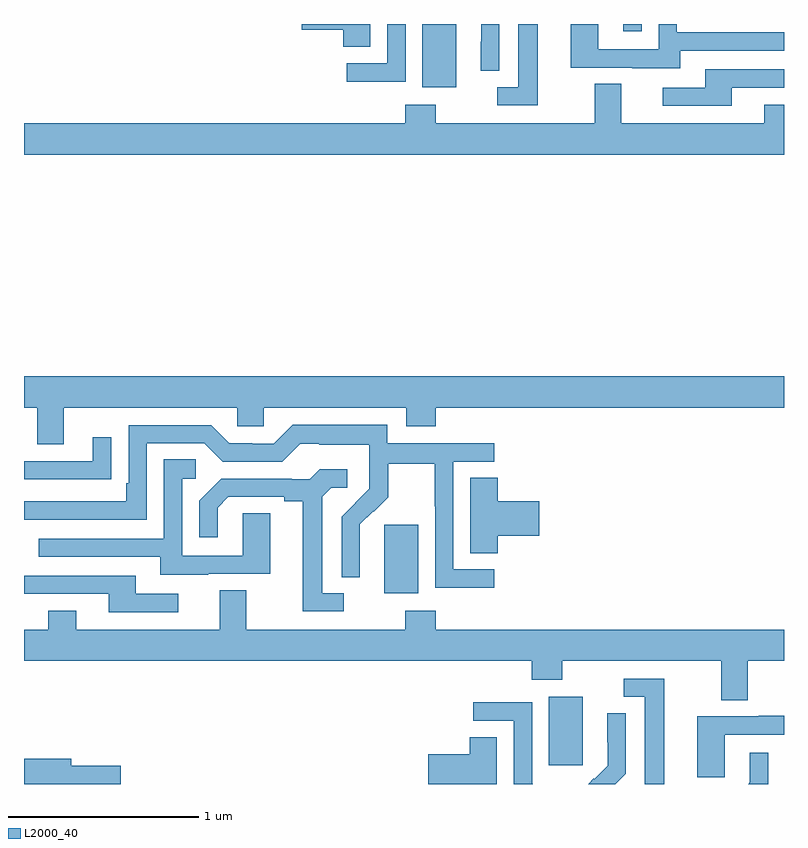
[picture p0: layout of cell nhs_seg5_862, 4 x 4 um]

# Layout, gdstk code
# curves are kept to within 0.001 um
import gdstk
lib = gdstk.Library(unit=1e-6, precision=1e-09)
def R(c, l, rs):  # rectangles x0, y0, x1, y1
    for r in rs: c.add(gdstk.rectangle(r[:2], r[2:], *l))
def P(c, l, *ps):  # polygons
    for p in ps: c.add(gdstk.Polygon(p, *l))
L2000_40 = (2000, 40)

nhs_seg5_862 = lib.new_cell('nhs_seg5_862')
R(nhs_seg5_862, L2000_40, [(169.763,834.897,169.942,835.258), (168.896,835.802,169.075,836.163), (169.097,838.466,169.276,838.799), (170.153,838.761,170.25,838.799)])
P(nhs_seg5_862, L2000_40, [(169.5,838.799),(169.406,838.799),(169.406,838.706),(169.404,838.706),(169.404,838.552),(169.5,838.552)],
  [(169.008,838.799),(168.912,838.799),(168.912,838.593),(168.699,838.593),(168.699,838.495),(169.008,838.495)],
  [(169.705,838.799),(169.601,838.799),(169.601,838.467),(169.491,838.467),(169.491,838.371),(169.705,838.371)],
  [(170.455,838.659),(171,838.659),(171,838.755),(170.436,838.755),(170.436,838.799),(170.34,838.799),(170.34,838.665),(170.022,838.665),(170.022,838.799),(169.877,838.799),(169.877,838.569),(170.201,838.569),(170.201,838.565),(170.455,838.565)],
  [(168.823,838.799),(168.462,838.799),(168.462,838.769),(168.68,838.769),(168.68,838.678),(168.823,838.678)],
  [(170.725,838.464),(171,838.464),(171,838.56),(170.585,838.56),(170.585,838.464),(170.361,838.464),(170.361,838.368),(170.725,838.368)],
  [(171,838.375),(170.897,838.375),(170.897,838.276),(170.143,838.276),(170.143,838.484),(170.003,838.484),(170.003,838.276),(169.167,838.276),(169.167,838.375),(169.007,838.375),(169.007,838.276),(167,838.276),(167,838.112),(171,838.112)],
  [(167.209,836.78),(168.123,836.78),(168.123,836.682),(168.261,836.682),(168.261,836.78),(169.013,836.78),(169.013,836.681),(169.166,836.681),(169.166,836.78),(171,836.78),(171,836.944),(167,836.944),(167,836.78),(167.069,836.78),(167.069,836.586),(167.209,836.586)],
  [(169.474,835.929),(169.26,835.929),(169.26,836.496),(169.474,836.496),(169.474,836.592),(168.912,836.592),(168.912,836.689),(168.415,836.689),(168.315,836.589),(168.2,836.589),(168.2,836.592),(168.081,836.592),(167.985,836.688),(167.55,836.688),(167.55,836.383),(167.537,836.383),(167.537,836.286),(167,836.286),(167,836.19),(167.646,836.19),(167.646,836.592),(167.949,836.592),(168.045,836.496),(168.36,836.496),(168.453,836.589),(168.553,836.589),(168.553,836.585),(168.816,836.585),(168.816,836.451),(168.818,836.451),(168.818,836.354),(168.672,836.206),(168.672,835.888),(168.768,835.888),(168.767,836.165),(168.837,836.235),(168.84,836.232),(168.917,836.309),(168.917,836.484),(169.162,836.484),(169.162,836.26),(169.164,836.26),(169.164,835.831),(169.474,835.831)],
  [(167.357,836.404),(167.459,836.404),(167.459,836.623),(167.363,836.623),(167.363,836.499),(167,836.499),(167,836.403),(167.357,836.403)],
  [(167.971,835.905),(168.295,835.905),(168.295,836.225),(168.15,836.225),(168.15,836.001),(167.832,836.001),(167.832,836.406),(167.905,836.406),(167.905,836.507),(167.736,836.507),(167.736,836.091),(167.077,836.091),(167.077,835.995),(167.717,835.995),(167.717,835.901),(167.971,835.901)],
  [(168.682,835.803),(168.571,835.803),(168.571,836.311),(168.618,836.358),(168.7,836.358),(168.7,836.455),(168.556,836.455),(168.504,836.403),(168.41,836.403),(168.41,836.406),(168.038,836.406),(167.922,836.29),(167.922,836.097),(168.019,836.097),(168.019,836.253),(168.076,836.31),(168.371,836.31),(168.371,836.288),(168.467,836.288),(168.467,835.707),(168.682,835.707)],
  [(169.493,836.105),(169.711,836.105),(169.711,836.288),(169.493,836.288),(169.493,836.411),(169.349,836.411),(169.349,836.014),(169.493,836.014)],
  [(167.812,835.8),(167.587,835.8),(167.587,835.896),(167,835.896),(167,835.8),(167.447,835.8),(167.447,835.704),(167.812,835.704)],
  [(170.809,835.448),(171,835.448),(171,835.612),(169.166,835.612),(169.166,835.711),(169.006,835.711),(169.006,835.612),(168.169,835.612),(168.169,835.82),(168.029,835.82),(168.029,835.612),(167.275,835.612),(167.275,835.711),(167.128,835.711),(167.128,835.612),(167,835.612),(167,835.448),(169.673,835.448),(169.673,835.349),(169.833,835.349),(169.833,835.448),(170.669,835.448),(170.669,835.24),(170.809,835.24)],
  [(170.371,835.353),(170.157,835.353),(170.157,835.257),(170.267,835.257),(170.267,834.799),(170.371,834.799)],
  [(169.677,834.8),(169.674,834.8),(169.674,835.23),(169.365,835.23),(169.365,835.131),(169.578,835.131),(169.578,834.799),(169.677,834.799)],
  [(170.166,834.854),(170.166,835.172),(170.07,835.172),(170.07,835.018),(170.072,835.018),(170.072,834.896),(170.001,834.825),(169.998,834.828),(169.969,834.799),(170.111,834.799)],
  [(170.688,835.059),(171,835.059),(171,835.159),(170.867,835.159),(170.867,835.155),(170.543,835.155),(170.543,834.835),(170.688,834.835)],
  [(169.489,835.046),(169.346,835.046),(169.346,834.956),(169.128,834.956),(169.128,834.799),(169.489,834.799)],
  [(170.916,834.964),(170.819,834.964),(170.819,834.807),(170.811,834.799),(170.916,834.799)],
  [(167.509,834.896),(167.248,834.896),(167.248,834.932),(167,834.932),(167,834.799),(167.509,834.799)])

lib.write_gds('nhs_seg5_862.gds')
